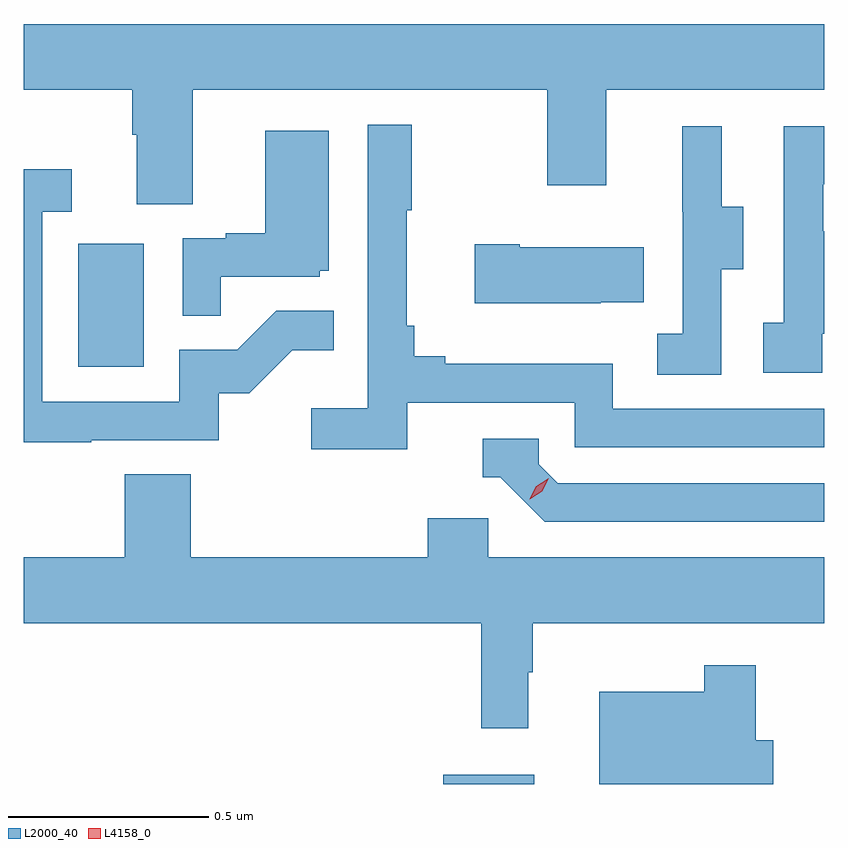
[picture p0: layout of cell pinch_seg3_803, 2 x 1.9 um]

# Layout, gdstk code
import gdstk
lib = gdstk.Library(unit=1e-6, precision=1e-09)
def R(c, l, rs):  # rectangles x0, y0, x1, y1
    for r in rs: c.add(gdstk.rectangle(r[:2], r[2:], *l))
def P(c, l, *ps):  # polygons
    for p in ps: c.add(gdstk.Polygon(p, *l))
L2000_40 = (2000, 40)
L4158_0 = (4158, 0)

pinch_seg3_803 = lib.new_cell('pinch_seg3_803')
R(pinch_seg3_803, L2000_40, [(822.686,727.154,822.913,727.177), (821.774,728.196,821.938,728.503)])
P(pinch_seg3_803, L2000_40, [(822.061,728.888),(822.946,728.888),(822.946,728.649),(823.093,728.649),(823.093,728.888),(823.638,728.888),(823.638,729.052),(821.638,729.052),(821.638,728.888),(821.909,728.888),(821.909,728.776),(821.921,728.776),(821.921,728.602),(822.061,728.602)],
  [(822.596,728.106),(823.014,728.106),(823.014,727.995),(823.638,727.995),(823.638,728.091),(823.11,728.091),(823.11,728.203),(822.691,728.203),(822.691,728.222),(822.614,728.222),(822.614,728.299),(822.595,728.299),(822.595,728.587),(822.607,728.587),(822.607,728.8),(822.498,728.8),(822.498,728.092),(822.357,728.092),(822.357,727.99),(822.596,727.99)],
  [(823.632,728.279),(823.638,728.279),(823.638,728.534),(823.635,728.534),(823.635,728.652),(823.638,728.652),(823.638,728.797),(823.536,728.797),(823.536,728.306),(823.485,728.306),(823.485,728.181),(823.632,728.181)],
  [(823.38,728.44),(823.435,728.44),(823.435,728.595),(823.381,728.595),(823.381,728.797),(823.283,728.797),(823.283,728.583),(823.284,728.583),(823.284,728.279),(823.221,728.279),(823.221,728.176),(823.38,728.176)],
  [(822.131,728.421),(822.378,728.421),(822.378,728.436),(822.4,728.436),(822.4,728.785),(822.242,728.785),(822.242,728.53),(822.143,728.53),(822.143,728.517),(822.036,728.517),(822.036,728.323),(822.131,728.323)],
  [(821.807,728.013),(822.126,728.013),(822.126,728.13),(822.202,728.13),(822.309,728.237),(822.413,728.237),(822.413,728.336),(822.269,728.336),(822.171,728.238),(822.027,728.238),(822.027,728.109),(821.685,728.109),(821.685,728.583),(821.758,728.583),(821.758,728.689),(821.638,728.689),(821.638,728.008),(821.807,728.008)],
  [(823.079,728.357),(823.187,728.357),(823.187,728.494),(822.877,728.494),(822.877,728.502),(822.765,728.502),(822.765,728.354),(823.079,728.354)],
  [(823.638,727.905),(822.972,727.905),(822.924,727.953),(822.924,728.016),(822.785,728.016),(822.785,727.92),(822.828,727.92),(822.939,727.809),(823.638,727.809)],
  [(822.898,727.433),(822.91,727.433),(822.91,727.556),(823.638,727.556),(823.638,727.72),(822.798,727.72),(822.798,727.818),(822.647,727.818),(822.647,727.72),(822.056,727.72),(822.056,727.928),(821.891,727.928),(821.891,727.72),(821.638,727.72),(821.638,727.556),(822.781,727.556),(822.781,727.293),(822.898,727.293)],
  [(823.51,727.263),(823.466,727.263),(823.466,727.45),(823.338,727.45),(823.338,727.384),(823.076,727.384),(823.076,727.154),(823.51,727.154)])
P(pinch_seg3_803, L4158_0, [(822.902,727.865),(822.902,727.866),(822.918,727.898),(822.949,727.918),(822.949,727.918),(822.949,727.917),(822.933,727.885),(822.902,727.865)])

lib.write_gds('pinch_seg3_803.gds')
